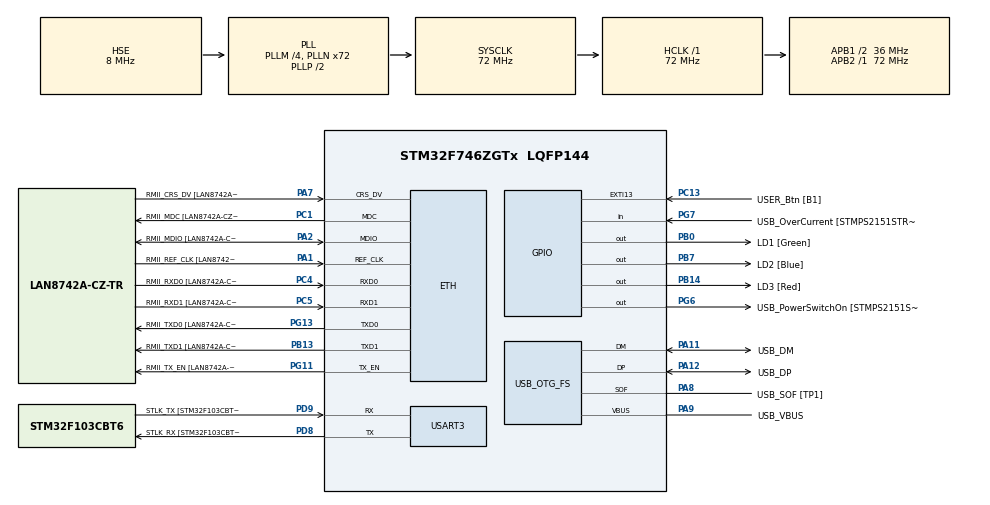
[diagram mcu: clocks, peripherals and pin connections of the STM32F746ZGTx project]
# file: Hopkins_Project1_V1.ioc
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ETH.MediaInterface=HAL_ETH_RMII_MODE
ETH.PHY_Name=LAN8742A_PHY_ADDRESS
ETH.PHY_Value=0
ETH.PhyAddress=0
Mcu.Family=STM32F7
Mcu.Name=STM32F746ZGTx
Mcu.Package=LQFP144
NVIC.PriorityGroup=NVIC_PRIORITYGROUP_4
PA1.GPIO_Label=RMII_REF_CLK [LAN8742A-CZ-TR_REFCLK0]
PA1.Mode=RMII
PA1.Signal=ETH_REF_CLK
PA10.GPIO_Label=USB_ID
PA10.Signal=USB_OTG_FS_ID
PA11.GPIO_Label=USB_DM
PA11.Mode=Device_Only
PA11.Signal=USB_OTG_FS_DM
PA12.GPIO_Label=USB_DP
PA12.Mode=Device_Only
PA12.Signal=USB_OTG_FS_DP
PA13.GPIO_Label=TMS
PA13.Mode=Serial_Wire
PA13.Signal=SYS_JTMS-SWDIO
PA14.GPIO_Label=TCK
PA14.Mode=Serial_Wire
PA14.Signal=SYS_JTCK-SWCLK
PA2.GPIO_Label=RMII_MDIO [LAN8742A-CZ-TR_MDIO]
PA2.Mode=RMII
PA2.Signal=ETH_MDIO
PA7.GPIO_Label=RMII_CRS_DV [LAN8742A-CZ-TR_CRS_DV]
PA7.Mode=RMII
PA7.Signal=ETH_CRS_DV
PA8.GPIO_Label=USB_SOF [TP1]
PA8.Mode=Activate_SOF_FS
PA8.Signal=USB_OTG_FS_SOF
PA9.GPIO_Label=USB_VBUS
PA9.Mode=Activate_VBUS
PA9.Signal=USB_OTG_FS_VBUS
PB0.GPIO_Label=LD1 [Green]
PB0.Signal=GPIO_Output
PB13.GPIO_Label=RMII_TXD1 [LAN8742A-CZ-TR_TXD1]
PB13.Mode=RMII
PB13.Signal=ETH_TXD1
PB14.GPIO_Label=LD3 [Red]
PB14.Signal=GPIO_Output
PB3.GPIO_Label=SW0
PB3.Signal=SYS_JTDO-SWO
PB7.GPIO_Label=LD2 [Blue]
PB7.Signal=GPIO_Output
PC1.GPIO_Label=RMII_MDC [LAN8742A-CZ-TR_MDC]
PC1.Mode=RMII
PC1.Signal=ETH_MDC
PC13.GPIO_Label=USER_Btn [B1]
PC13.Signal=GPXTI13
PC14/OSC32_IN.Mode=LSE-External-Oscillator
PC14/OSC32_IN.Signal=RCC_OSC32_IN
PC15/OSC32_OUT.Mode=LSE-External-Oscillator
PC15/OSC32_OUT.Signal=RCC_OSC32_OUT
PC4.GPIO_Label=RMII_RXD0 [LAN8742A-CZ-TR_RXD0]
PC4.Mode=RMII
PC4.Signal=ETH_RXD0
PC5.GPIO_Label=RMII_RXD1 [LAN8742A-CZ-TR_RXD1]
PC5.Mode=RMII
PC5.Signal=ETH_RXD1
PD8.GPIO_Label=STLK_RX [STM32F103CBT6_PA3]
PD8.GPIO_PuPd=GPIO_PULLUP
PD8.Mode=Asynchronous
PD8.Signal=USART3_TX
PD9.GPIO_Label=STLK_TX [STM32F103CBT6_PA2]
PD9.GPIO_PuPd=GPIO_PULLUP
PD9.Mode=Asynchronous
PD9.Signal=USART3_RX
PG11.GPIO_Label=RMII_TX_EN [LAN8742A-CZ-TR_TXEN]
PG11.Mode=RMII
PG11.Signal=ETH_TX_EN
PG13.GPIO_Label=RMII_TXD0 [LAN8742A-CZ-TR_TXD0]
PG13.Mode=RMII
PG13.Signal=ETH_TXD0
PG6.GPIO_Label=USB_PowerSwitchOn [STMPS2151STR_EN]
PG6.Signal=GPIO_Output
PG7.GPIO_Label=USB_OverCurrent [STMPS2151STR_FAULT]
PG7.Signal=GPIO_Input
PH0/OSC_IN.GPIO_Label=MCO [STM32F103CBT6_PA8]
PH0/OSC_IN.Mode=HSE-External-Clock-Source
PH0/OSC_IN.Signal=RCC_OSC_IN
PH1/OSC_OUT.Mode=HSE-External-Clock-Source
PH1/OSC_OUT.Signal=RCC_OSC_OUT
ProjectManager.HeapSize=0x200
ProjectManager.StackSize=0x400
ProjectManager.TargetToolchain=STM32CubeIDE
RCC.48MHZClocksFreq_Value=24000000
RCC.AHBFreq_Value=72000000
RCC.APB1CLKDivider=RCC_HCLK_DIV2
RCC.APB1Freq_Value=36000000
RCC.APB1TimFreq_Value=72000000
RCC.APB2Freq_Value=72000000
RCC.APB2TimFreq_Value=72000000
RCC.CortexFreq_Value=72000000
RCC.HCLKFreq_Value=72000000
RCC.HSE_VALUE=8000000
RCC.HSI_VALUE=16000000
RCC.PLLM=4
RCC.PLLMUL=RCC_PLL_MUL9
RCC.PLLN=72
RCC.PLLQ=3
RCC.PRESCALERUSB=RCC_USBCLKSOURCE_PLL_DIV1_5
RCC.SYSCLKFreq_VALUE=72000000
RCC.SYSCLKSource=RCC_SYSCLKSOURCE_PLLCLK
RCC.SYSCLKSourceVirtual=RCC_SYSCLKSOURCE_PLLCLK
RCC.USBFreq_Value=48000000
RCC.VCOOutputFreq_Value=144000000
TIM10.Prescaler=7200 - 1
USART3.VirtualMode-Asynchronous=VM_ASYNC
USB_OTG_FS.VirtualMode=Device_Only
VP_TIM10_VS_ClockSourceINT.Mode=Enable_Timer
board=NUCLEO-F746ZG

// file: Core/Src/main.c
/* USER CODE BEGIN Header */
/**
  ******************************************************************************
  * @file           : main.c
  * @brief          : Main program body
  ******************************************************************************
  * @attention
  *
  * Copyright (c) 2023 STMicroelectronics.
  * All rights reserved.
  *
  * This software is licensed under terms that can be found in the LICENSE file
  * in the root directory of this software component.
  * If no LICENSE file comes with this software, it is provided AS-IS.
  *
  ******************************************************************************
  */
/* USER CODE END Header */
#include "main.h"
#include "string.h"

#if defined ( __ICCARM__ ) /*!< IAR Compiler */
#pragma location=0x2004c000
ETH_DMADescTypeDef  DMARxDscrTab[ETH_RX_DESC_CNT]; /* Ethernet Rx DMA Descriptors */
#pragma location=0x2004c0a0
ETH_DMADescTypeDef  DMATxDscrTab[ETH_TX_DESC_CNT]; /* Ethernet Tx DMA Descriptors */

#elif defined ( __CC_ARM )  /* MDK ARM Compiler */

__attribute__((at(0x2004c000))) ETH_DMADescTypeDef  DMARxDscrTab[ETH_RX_DESC_CNT]; /* Ethernet Rx DMA Descriptors */
__attribute__((at(0x2004c0a0))) ETH_DMADescTypeDef  DMATxDscrTab[ETH_TX_DESC_CNT]; /* Ethernet Tx DMA Descriptors */

#elif defined ( __GNUC__ ) /* GNU Compiler */
ETH_DMADescTypeDef DMARxDscrTab[ETH_RX_DESC_CNT] __attribute__((section(".RxDecripSection"))); /* Ethernet Rx DMA Descriptors */
ETH_DMADescTypeDef DMATxDscrTab[ETH_TX_DESC_CNT] __attribute__((section(".TxDecripSection")));   /* Ethernet Tx DMA Descriptors */

#endif

ETH_TxPacketConfig TxConfig;

ETH_HandleTypeDef heth;

TIM_HandleTypeDef htim10;

UART_HandleTypeDef huart3;

PCD_HandleTypeDef hpcd_USB_OTG_FS;

void SystemClock_Config(void);
static void MX_GPIO_Init(void);
static void MX_ETH_Init(void);
static void MX_USART3_UART_Init(void);
static void MX_USB_OTG_FS_PCD_Init(void);
static void MX_TIM10_Init(void);

int main(void)
{

  /* MCU Configuration--------------------------------------------------------*/

  /* Reset of all peripherals, Initializes the Flash interface and the Systick. */
  HAL_Init();

  /* Configure the system clock */
  SystemClock_Config();

  /* Initialize all configured peripherals */
  MX_GPIO_Init();
  MX_ETH_Init();
  MX_USART3_UART_Init();
  MX_USB_OTG_FS_PCD_Init();
  MX_TIM10_Init();

  /* Infinite loop */
  /* USER CODE BEGIN WHILE */
  HAL_TIM_Base_Start(&htim10);
  while (1)
  {
    /* USER CODE END WHILE */

    /* USER CODE BEGIN 3 */

/* Blinking LED Example*/
	  HAL_GPIO_TogglePin (GPIOB, GPIO_PIN_0);
	  HAL_GPIO_TogglePin (GPIOB, GPIO_PIN_7);
	  HAL_GPIO_TogglePin (GPIOB, GPIO_PIN_14);
	  HAL_Delay (1000);   // Insert delay 100 ms

/* Button Interrupt Example*/
	  if (HAL_GPIO_ReadPin(GPIOC, GPIO_PIN_13) == 1) // button pressed
	  {
		  HAL_GPIO_WritePin(GPIOB, GPIO_PIN_0, 1);	// Turn on green LED
		  HAL_GPIO_WritePin(GPIOB, GPIO_PIN_7, 1);	// Turn on blue LED
	  }
	  else
	  {
		  HAL_GPIO_WritePin(GPIOB, GPIO_PIN_0, 0);  // Otherwise, turn off green LED
		  HAL_GPIO_WritePin(GPIOB, GPIO_PIN_7, 0);  // Otherwise, turn off Blue LED
	  }

/* Advanced Button Interrupt Example*/
	  int i = 0;
	  if ((HAL_GPIO_ReadPin(GPIOC, GPIO_PIN_13) == 1) && (i == 0))
	  {
		  HAL_GPIO_WritePin(GPIOB, GPIO_PIN_0, 1);
		  i++;
	  }
	  else if ((HAL_GPIO_ReadPin(GPIOC, GPIO_PIN_13) == 1) && (i == 1))
	  {
		  HAL_GPIO_WritePin(GPIOB, GPIO_PIN_0, 0);
		  i++;
		  HAL_GPIO_WritePin(GPIOB, GPIO_PIN_7, 1);
	  }
	  else if ((HAL_GPIO_ReadPin(GPIOC, GPIO_PIN_13) == 1) && (i == 2))
	  {
		  HAL_GPIO_WritePin(GPIOB, GPIO_PIN_7, 0);
		  i++;
		  HAL_GPIO_WritePin(GPIOB, GPIO_PIN_14, 1);
	  }
	  else
	  {
		  HAL_GPIO_WritePin(GPIOB, GPIO_PIN_14, 0);
		  i = 0;
	  }

/* Timer example with no interrupt*/
	  unsigned int counter = __HAL_TIM_GET_COUNTER(&htim10);

	  if (counter >= 5000)
	  {
		  HAL_GPIO_TogglePin (GPIOB, GPIO_PIN_7);
	  }
	  else //Turn off blue LED whenever counter is not = 5000
	  {
		  HAL_GPIO_WritePin(GPIOB, GPIO_PIN_7, 0);
	  }

/* Timer example using interrupt*/
	  unsigned int counter = __HAL_TIM_GET_COUNTER(&htim10);

	  if (counter <= 3000)
	  {
		  HAL_GPIO_TogglePin (GPIOB, GPIO_PIN_0);
	  }
	  if ((counter >= 5000) && (HAL_GPIO_ReadPin (GPIOC, GPIO_PIN_13) == 1))
	  {
		  HAL_GPIO_TogglePin (GPIOB, GPIO_PIN_7);
	  }
	  else
	  {
		  HAL_GPIO_WritePin(GPIOB, GPIO_PIN_0, 0);
	  }

  }
  /* USER CODE END 3 */
}

void SystemClock_Config(void)
{
  RCC_OscInitTypeDef RCC_OscInitStruct = {0};
  RCC_ClkInitTypeDef RCC_ClkInitStruct = {0};

  /** Configure LSE Drive Capability
  */
  HAL_PWR_EnableBkUpAccess();

  /** Configure the main internal regulator output voltage
  */
  __HAL_RCC_PWR_CLK_ENABLE();
  __HAL_PWR_VOLTAGESCALING_CONFIG(PWR_REGULATOR_VOLTAGE_SCALE3);

  /** Initializes the RCC Oscillators according to the specified parameters
  * in the RCC_OscInitTypeDef structure.
  */
  RCC_OscInitStruct.OscillatorType = RCC_OSCILLATORTYPE_HSE;
  RCC_OscInitStruct.HSEState = RCC_HSE_BYPASS;
  RCC_OscInitStruct.PLL.PLLState = RCC_PLL_ON;
  RCC_OscInitStruct.PLL.PLLSource = RCC_PLLSOURCE_HSE;
  RCC_OscInitStruct.PLL.PLLM = 4;
  RCC_OscInitStruct.PLL.PLLN = 72;
  RCC_OscInitStruct.PLL.PLLP = RCC_PLLP_DIV2;
  RCC_OscInitStruct.PLL.PLLQ = 3;
  if (HAL_RCC_OscConfig(&RCC_OscInitStruct) != HAL_OK)
  {
    Error_Handler();
  }

  /** Initializes the CPU, AHB and APB buses clocks
  */
  RCC_ClkInitStruct.ClockType = RCC_CLOCKTYPE_HCLK|RCC_CLOCKTYPE_SYSCLK
                              |RCC_CLOCKTYPE_PCLK1|RCC_CLOCKTYPE_PCLK2;
  RCC_ClkInitStruct.SYSCLKSource = RCC_SYSCLKSOURCE_PLLCLK;
  RCC_ClkInitStruct.AHBCLKDivider = RCC_SYSCLK_DIV1;
  RCC_ClkInitStruct.APB1CLKDivider = RCC_HCLK_DIV2;
  RCC_ClkInitStruct.APB2CLKDivider = RCC_HCLK_DIV1;

  if (HAL_RCC_ClockConfig(&RCC_ClkInitStruct, FLASH_LATENCY_2) != HAL_OK)
  {
    Error_Handler();
  }
}

static void MX_ETH_Init(void)
{

   static uint8_t MACAddr[6];

  heth.Instance = ETH;
  MACAddr[0] = 0x00;
  MACAddr[1] = 0x80;
  MACAddr[2] = 0xE1;
  MACAddr[3] = 0x00;
  MACAddr[4] = 0x00;
  MACAddr[5] = 0x00;
  heth.Init.MACAddr = &MACAddr[0];
  heth.Init.MediaInterface = HAL_ETH_RMII_MODE;
  heth.Init.TxDesc = DMATxDscrTab;
  heth.Init.RxDesc = DMARxDscrTab;
  heth.Init.RxBuffLen = 1524;

  if (HAL_ETH_Init(&heth) != HAL_OK)
  {
    Error_Handler();
  }

  memset(&TxConfig, 0 , sizeof(ETH_TxPacketConfig));
  TxConfig.Attributes = ETH_TX_PACKETS_FEATURES_CSUM | ETH_TX_PACKETS_FEATURES_CRCPAD;
  TxConfig.ChecksumCtrl = ETH_CHECKSUM_IPHDR_PAYLOAD_INSERT_PHDR_CALC;
  TxConfig.CRCPadCtrl = ETH_CRC_PAD_INSERT;

}

static void MX_TIM10_Init(void)
{

  htim10.Instance = TIM10;
  htim10.Init.Prescaler = 7200 - 1;
  htim10.Init.CounterMode = TIM_COUNTERMODE_UP;
  htim10.Init.Period = 65535;
  htim10.Init.ClockDivision = TIM_CLOCKDIVISION_DIV1;
  htim10.Init.AutoReloadPreload = TIM_AUTORELOAD_PRELOAD_DISABLE;
  if (HAL_TIM_Base_Init(&htim10) != HAL_OK)
  {
    Error_Handler();
  }

}

static void MX_USART3_UART_Init(void)
{

  huart3.Instance = USART3;
  huart3.Init.BaudRate = 115200;
  huart3.Init.WordLength = UART_WORDLENGTH_8B;
  huart3.Init.StopBits = UART_STOPBITS_1;
  huart3.Init.Parity = UART_PARITY_NONE;
  huart3.Init.Mode = UART_MODE_TX_RX;
  huart3.Init.HwFlowCtl = UART_HWCONTROL_NONE;
  huart3.Init.OverSampling = UART_OVERSAMPLING_16;
  huart3.Init.OneBitSampling = UART_ONE_BIT_SAMPLE_DISABLE;
  huart3.AdvancedInit.AdvFeatureInit = UART_ADVFEATURE_NO_INIT;
  if (HAL_UART_Init(&huart3) != HAL_OK)
  {
    Error_Handler();
  }

}

static void MX_USB_OTG_FS_PCD_Init(void)
{

  hpcd_USB_OTG_FS.Instance = USB_OTG_FS;
  hpcd_USB_OTG_FS.Init.dev_endpoints = 6;
  hpcd_USB_OTG_FS.Init.speed = PCD_SPEED_FULL;
  hpcd_USB_OTG_FS.Init.dma_enable = DISABLE;
  hpcd_USB_OTG_FS.Init.phy_itface = PCD_PHY_EMBEDDED;
  hpcd_USB_OTG_FS.Init.Sof_enable = ENABLE;
  hpcd_USB_OTG_FS.Init.low_power_enable = DISABLE;
  hpcd_USB_OTG_FS.Init.lpm_enable = DISABLE;
  hpcd_USB_OTG_FS.Init.vbus_sensing_enable = ENABLE;
  hpcd_USB_OTG_FS.Init.use_dedicated_ep1 = DISABLE;
  if (HAL_PCD_Init(&hpcd_USB_OTG_FS) != HAL_OK)
  {
    Error_Handler();
  }

}

static void MX_GPIO_Init(void)
{
  GPIO_InitTypeDef GPIO_InitStruct = {0};

  /* GPIO Ports Clock Enable */
  __HAL_RCC_GPIOC_CLK_ENABLE();
  __HAL_RCC_GPIOH_CLK_ENABLE();
  __HAL_RCC_GPIOA_CLK_ENABLE();
  __HAL_RCC_GPIOB_CLK_ENABLE();
  __HAL_RCC_GPIOD_CLK_ENABLE();
  __HAL_RCC_GPIOG_CLK_ENABLE();

  /*Configure GPIO pin Output Level */
  HAL_GPIO_WritePin(GPIOB, LD1_Pin|LD3_Pin|LD2_Pin, GPIO_PIN_RESET);

  /*Configure GPIO pin Output Level */
  HAL_GPIO_WritePin(USB_PowerSwitchOn_GPIO_Port, USB_PowerSwitchOn_Pin, GPIO_PIN_RESET);

  /*Configure GPIO pin : USER_Btn_Pin */
  GPIO_InitStruct.Pin = USER_Btn_Pin;
  GPIO_InitStruct.Mode = GPIO_MODE_IT_RISING;
  GPIO_InitStruct.Pull = GPIO_NOPULL;
  HAL_GPIO_Init(USER_Btn_GPIO_Port, &GPIO_InitStruct);

  /*Configure GPIO pins : LD1_Pin LD3_Pin LD2_Pin */
  GPIO_InitStruct.Pin = LD1_Pin|LD3_Pin|LD2_Pin;
  GPIO_InitStruct.Mode = GPIO_MODE_OUTPUT_PP;
  GPIO_InitStruct.Pull = GPIO_NOPULL;
  GPIO_InitStruct.Speed = GPIO_SPEED_FREQ_LOW;
  HAL_GPIO_Init(GPIOB, &GPIO_InitStruct);

  /*Configure GPIO pin : USB_PowerSwitchOn_Pin */
  GPIO_InitStruct.Pin = USB_PowerSwitchOn_Pin;
  GPIO_InitStruct.Mode = GPIO_MODE_OUTPUT_PP;
  GPIO_InitStruct.Pull = GPIO_NOPULL;
  GPIO_InitStruct.Speed = GPIO_SPEED_FREQ_LOW;
  HAL_GPIO_Init(USB_PowerSwitchOn_GPIO_Port, &GPIO_InitStruct);

  /*Configure GPIO pin : USB_OverCurrent_Pin */
  GPIO_InitStruct.Pin = USB_OverCurrent_Pin;
  GPIO_InitStruct.Mode = GPIO_MODE_INPUT;
  GPIO_InitStruct.Pull = GPIO_NOPULL;
  HAL_GPIO_Init(USB_OverCurrent_GPIO_Port, &GPIO_InitStruct);

}

void Error_Handler(void)
{
  __disable_irq();
  while (1)
  {
  }
}
